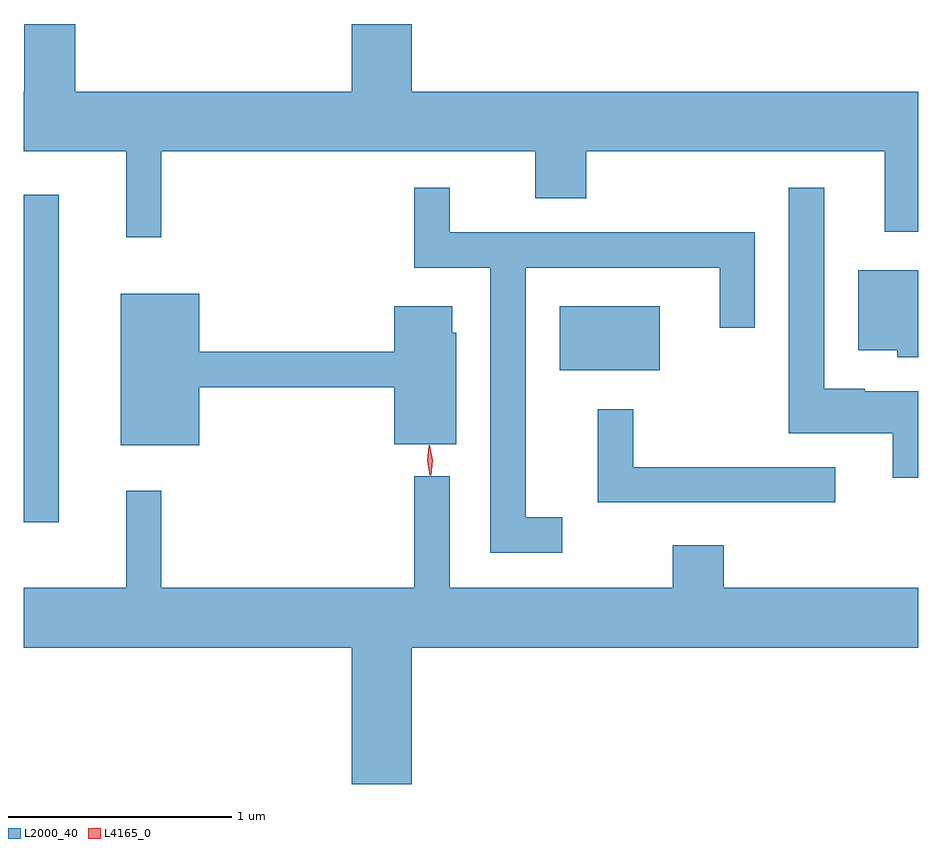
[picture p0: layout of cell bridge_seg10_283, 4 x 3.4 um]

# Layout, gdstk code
import gdstk
lib = gdstk.Library(unit=1e-6, precision=1e-09)
def R(c, l, rs):  # rectangles x0, y0, x1, y1
    for r in rs: c.add(gdstk.rectangle(r[:2], r[2:], *l))
def P(c, l, *ps):  # polygons
    for p in ps: c.add(gdstk.Polygon(p, *l))
L2000_40 = (2000, 40)
L4165_0 = (4165, 0)

bridge_seg10_283 = lib.new_cell('bridge_seg10_283')
R(bridge_seg10_283, L2000_40, [(1452.369,2181.076,1452.524,2182.543), (1454.766,2181.756,1455.214,2182.044)])
P(bridge_seg10_283, L2000_40, [(1452.984,2182.736),(1454.656,2182.736),(1454.656,2182.526),(1454.884,2182.526),(1454.884,2182.736),(1456.221,2182.736),(1456.221,2182.376),(1456.369,2182.376),(1456.369,2183.004),(1454.104,2183.004),(1454.104,2183.304),(1453.836,2183.304),(1453.836,2183.004),(1452.599,2183.004),(1452.599,2183.306),(1452.371,2183.306),(1452.371,2183.004),(1452.369,2183.004),(1452.369,2182.736),(1452.826,2182.736),(1452.826,2182.353),(1452.984,2182.353)],
  [(1454.778,2181.099),(1454.614,2181.099),(1454.614,2182.216),(1455.481,2182.216),(1455.481,2181.948),(1455.639,2181.948),(1455.639,2182.374),(1454.274,2182.374),(1454.274,2182.573),(1454.116,2182.573),(1454.116,2182.216),(1454.456,2182.216),(1454.456,2180.941),(1454.778,2180.941)],
  [(1456.369,2181.664),(1456.13,2181.664),(1456.13,2181.674),(1455.949,2181.674),(1455.949,2182.573),(1455.791,2182.573),(1455.791,2181.476),(1456.256,2181.476),(1456.256,2181.276),(1456.369,2181.276)],
  [(1456.369,2182.204),(1456.101,2182.204),(1456.101,2181.846),(1456.276,2181.846),(1456.276,2181.816),(1456.369,2181.816)],
  [(1453.154,2181.681),(1454.026,2181.681),(1454.026,2181.426),(1454.304,2181.426),(1454.304,2181.924),(1454.284,2181.924),(1454.284,2182.044),(1454.026,2182.044),(1454.026,2181.839),(1453.154,2181.839),(1453.154,2182.099),(1452.801,2182.099),(1452.801,2181.421),(1453.154,2181.421)],
  [(1455.998,2181.324),(1455.094,2181.324),(1455.094,2181.583),(1454.936,2181.583),(1454.936,2181.166),(1455.998,2181.166)],
  [(1454.104,2180.516),(1456.369,2180.516),(1456.369,2180.784),(1455.499,2180.784),(1455.499,2180.974),(1455.271,2180.974),(1455.271,2180.784),(1454.274,2180.784),(1454.274,2181.283),(1454.116,2181.283),(1454.116,2180.784),(1452.984,2180.784),(1452.984,2181.218),(1452.826,2181.218),(1452.826,2180.784),(1452.369,2180.784),(1452.369,2180.516),(1453.836,2180.516),(1453.836,2179.906),(1454.104,2179.906)])
P(bridge_seg10_283, L4165_0, [(1454.191,2181.285),(1454.191,2181.285),(1454.177,2181.353),(1454.183,2181.421),(1454.184,2181.422),(1454.184,2181.421),(1454.197,2181.354),(1454.192,2181.285)],
  [(1454.185,2181.288),(1454.174,2181.353),(1454.181,2181.419),(1454.182,2181.419),(1454.182,2181.419),(1454.194,2181.354),(1454.186,2181.288),(1454.186,2181.288)])

lib.write_gds('bridge_seg10_283.gds')
